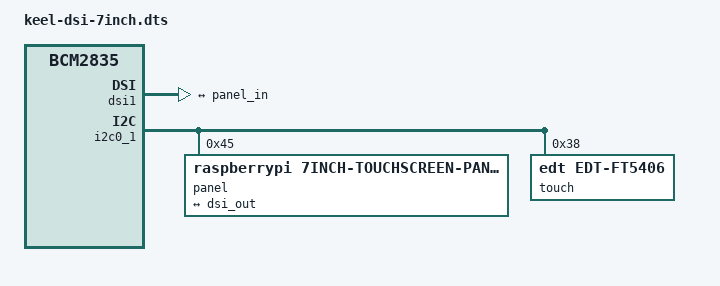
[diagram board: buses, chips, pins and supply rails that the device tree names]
/dts-v1/;
/plugin/;

/*
 * Official Raspberry Pi 7-inch panel on the display ribbon, beside HDMI.
 * Debian's Pi 4 tree already has HDMI. It does not have this panel, and the
 * usual Raspberry Pi overlay asks for names that tree does not use.
 * The ribbon's I2C is the second channel of i2c0 (GPIO 44 and 45).
 */
/ {
	compatible = "brcm,bcm2711", "brcm,bcm2835";

	fragment@0 {
		target = <&dsi1>;
		__overlay__ {
			status = "okay";

			port {
				dsi_out: endpoint {
					remote-endpoint = <&panel_in>;
				};
			};
		};
	};

	fragment@1 {
		target = <&i2c0_1>;
		__overlay__ {
			#address-cells = <1>;
			#size-cells = <0>;
			status = "okay";

			panel@45 {
				compatible = "raspberrypi,7inch-touchscreen-panel";
				reg = <0x45>;

				port {
					panel_in: endpoint {
						remote-endpoint = <&dsi_out>;
					};
				};
			};

			touch@38 {
				compatible = "edt,edt-ft5406";
				reg = <0x38>;
				touchscreen-size-x = <800>;
				touchscreen-size-y = <480>;
			};
		};
	};
};
